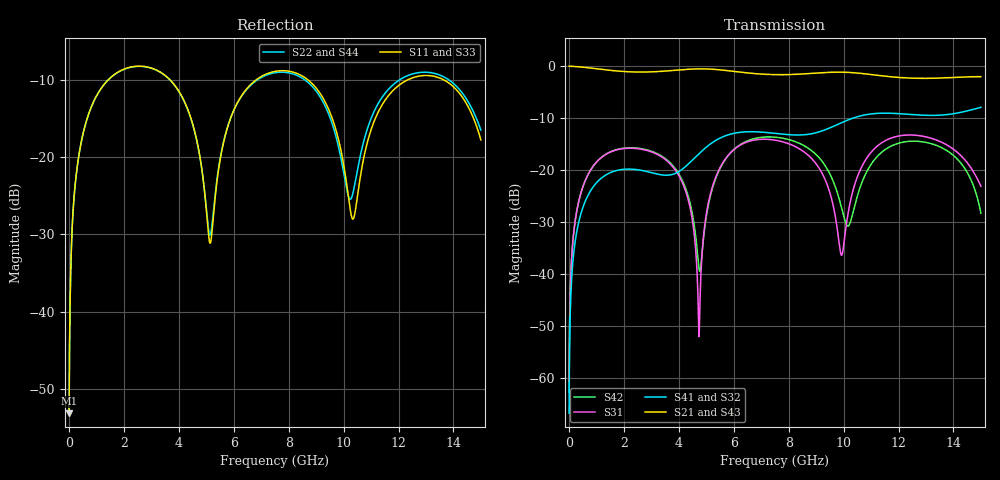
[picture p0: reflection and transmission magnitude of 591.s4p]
! Created with skrf 1.8.0 (http://scikit-rf.org).
# GHz S RI R 50.0
!freq ReS11 ImS11 ReS12 ImS12 ReS13 ImS13
! ReS14 ImS14
! ReS21 ImS21 ReS22 ImS22 ReS23 ImS23
! ReS24 ImS24
! ReS31 ImS31 ReS32 ImS32 ReS33 ImS33
! ReS34 ImS34
! ReS41 ImS41 ReS42 ImS42 ReS43 ImS43
! ReS44 ImS44
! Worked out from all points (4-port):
!   2499 points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, 5 MHz to 15 GHz, reference 50 ohm
!   strongest paths, dB at 5 MHz, 3.476 GHz, 7.19 GHz, 11.1 GHz, 15 GHz:
!     S21: 0.0, -1.0, -1.6, -1.7, -2.0
!     S43: 0.0, -1.0, -1.6, -1.7, -2.1
!     S41: -66.9, -21.0, -12.8, -9.2, -7.9
!     S32: -66.9, -21.1, -12.8, -9.2, -7.9
!     S31: -62.8, -17.9, -14.1, -16.0, -23.1
!     S42: -62.8, -17.7, -13.6, -18.2, -28.3
!   lowest |S11| = -53.2 dB at 5 MHz (marker M1), VSWR 1.00, Z = 50.2 + j0.133 ohm
!   |S11| at or under -10 dB: start of sweep to 1.41 GHz; 3.698 GHz to 6.792 GHz (3.094 GHz wide, 59 % of centre); 8.725 GHz to 12.3 GHz (3.57 GHz wide, 34 % of centre) (the widest 3 of 4)
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0.005  0.00174 0.00132  0.9982 -0.00339  8.88e-05 0.000718  -8.61e-05 -0.000446
       0.9982 -0.00339  0.00174 0.00132  -8.61e-05 -0.000446  8.88e-05 0.000718
       8.88e-05 0.000718  -8.61e-05 -0.000446  0.00174 0.00132  0.9982 -0.00339
       -8.61e-05 -0.000446  8.88e-05 0.000718  0.9982 -0.00339  0.00174 0.00132
0.3626511  0.0336 0.0983  0.9536 -0.242  0.0164 0.048  -0.0137 -0.0291
           0.9536 -0.242  0.0335 0.0983  -0.0137 -0.0291  0.0168 0.0479
           0.0164 0.048  -0.0137 -0.0291  0.0336 0.0983  0.9536 -0.242
           -0.0137 -0.0291  0.0168 0.0479  0.9536 -0.242  0.0335 0.0983
1.619545  0.3013 0.1608  0.476 -0.7678  0.1424 0.0554  -0.0966 0.00672
          0.476 -0.7678  0.3003 0.1617  -0.0965 0.00658  0.1451 0.0511
          0.1424 0.0554  -0.0965 0.00658  0.3013 0.1607  0.476 -0.7678
          -0.0966 0.00672  0.1451 0.0511  0.476 -0.7678  0.3001 0.1617
4.739475  0.0496 -0.0962  -0.8884 -0.3073  -0.00249 3.14e-05  -0.0418 0.1378
          -0.8884 -0.3073  0.053 -0.0935  -0.0435 0.1373  -0.0103 -0.00413
          -0.00249 3.14e-05  -0.0435 0.1373  0.0483 -0.0953  -0.8886 -0.3069
          -0.0418 0.1378  -0.0103 -0.00413  -0.8886 -0.3069  0.0534 -0.092
7.934556  0.3622 -0.038  -0.0255 0.8272  0.1698 -0.0637  0.2077 -0.0707
          -0.0255 0.8272  0.3542 -0.0294  0.2078 -0.0668  0.1708 -0.1006
          0.1698 -0.0637  0.2078 -0.0668  0.3642 -0.0368  -0.0261 0.8267
          0.2077 -0.0707  0.1708 -0.1006  -0.0261 0.8267  0.3547 -0.0298
10.6732  0.0585 0.0647  0.8466 -0.0572  0.0777 0.0763  -0.0445 -0.3313
         0.8466 -0.0572  0.0789 0.084  -0.037 -0.332  0.0264 0.0717
         0.0777 0.0763  -0.037 -0.332  0.0599 0.068  0.8464 -0.0565
         -0.0445 -0.3313  0.0264 0.0717  0.8464 -0.0565  0.0787 0.0859
15  0.0962 -0.0874  -0.6636 -0.4299  -0.0515 -0.047  -0.2029 0.3455
    -0.6636 -0.4299  0.1115 -0.1008  -0.215 0.3382  -0.0192 -0.0331
    -0.0515 -0.047  -0.215 0.3382  0.1025 -0.0941  -0.6583 -0.4356
    -0.2029 0.3455  -0.0192 -0.0331  -0.6583 -0.4356  0.1169 -0.1072
